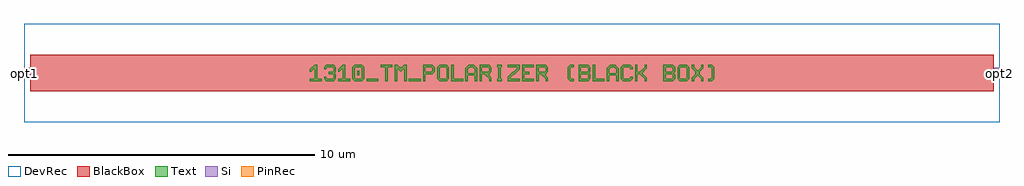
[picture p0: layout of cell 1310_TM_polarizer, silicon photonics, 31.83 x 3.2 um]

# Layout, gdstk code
import gdstk
lib = gdstk.Library(unit=1e-6, precision=1e-09)
def R(c, l, rs):  # rectangles x0, y0, x1, y1
    for r in rs: c.add(gdstk.rectangle(r[:2], r[2:], *l))
def P(c, l, *ps):  # polygons
    for p in ps: c.add(gdstk.Polygon(p, *l))
Si = (1, 0)
PinRec = (1, 10)
Text = (10, 0)
DevRec = (68, 0)
BlackBox = (998, 0)

text = lib.new_cell('TEXT')
R(text, Text, [(1.844,0,2.228,0.077), (3.227,0,3.611,0.077), (1.537,0.192,1.614,0.346)])
P(text, Text, [(0,0),(0,0.077),(0.154,0.077),(0.154,0.384),(0.115,0.384),(0.038,0.308),(0,0.308),(0,0.384),(0.154,0.538),(0.231,0.538),(0.231,0.077),(0.384,0.077),(0.384,0)],
  [(0.538,0),(0.461,0.077),(0.461,0.154),(0.538,0.154),(0.538,0.115),(0.576,0.077),(0.73,0.077),(0.769,0.115),(0.769,0.192),(0.73,0.231),(0.615,0.231),(0.615,0.308),(0.73,0.308),(0.769,0.346),(0.769,0.423),(0.73,0.461),(0.576,0.461),(0.538,0.423),(0.538,0.384),(0.461,0.384),(0.461,0.461),(0.538,0.538),(0.769,0.538),(0.845,0.461),(0.845,0.308),(0.807,0.269),(0.845,0.231),(0.845,0.077),(0.769,0)],
  [(0.922,0),(0.922,0.077),(1.076,0.077),(1.076,0.384),(1.037,0.384),(0.96,0.308),(0.922,0.308),(0.922,0.384),(1.076,0.538),(1.153,0.538),(1.153,0.077),(1.306,0.077),(1.306,0)],
  [(1.46,0),(1.383,0.077),(1.383,0.461),(1.46,0.538),(1.691,0.538),(1.767,0.461),(1.498,0.461),(1.46,0.423),(1.46,0.115),(1.498,0.077),(1.652,0.077),(1.691,0.115),(1.691,0.423),(1.652,0.461),(1.767,0.461),(1.767,0.077),(1.691,0)],
  [(2.459,0),(2.459,0.461),(2.305,0.461),(2.305,0.538),(2.689,0.538),(2.689,0.461),(2.536,0.461),(2.536,0)],
  [(2.766,0),(2.766,0.538),(2.843,0.538),(2.92,0.461),(2.997,0.461),(3.074,0.538),(3.15,0.538),(3.15,0),(3.074,0),(3.074,0.384),(3.035,0.384),(2.958,0.308),(2.881,0.384),(2.843,0.384),(2.843,0)],
  [(3.688,0),(3.688,0.538),(3.996,0.538),(4.072,0.461),(4.072,0.308),(3.996,0.231),(3.765,0.231),(3.765,0.308),(3.957,0.308),(3.996,0.346),(3.996,0.423),(3.957,0.461),(3.765,0.461),(3.765,0)],
  [(4.226,0),(4.149,0.077),(4.149,0.461),(4.226,0.538),(4.457,0.538),(4.533,0.461),(4.533,0.269),(4.457,0.269),(4.457,0.423),(4.418,0.461),(4.264,0.461),(4.226,0.423),(4.226,0.115),(4.264,0.077),(4.418,0.077),(4.457,0.115),(4.457,0.269),(4.533,0.269),(4.533,0.077),(4.457,0)],
  [(4.61,0),(4.61,0.538),(4.687,0.538),(4.687,0.077),(4.994,0.077),(4.994,0)],
  [(5.071,0),(5.071,0.423),(5.186,0.538),(5.34,0.538),(5.417,0.461),(5.225,0.461),(5.148,0.384),(5.148,0.269),(5.379,0.269),(5.379,0.384),(5.302,0.461),(5.417,0.461),(5.455,0.423),(5.455,0),(5.379,0),(5.379,0.192),(5.148,0.192),(5.148,0)],
  [(5.532,0),(5.532,0.538),(5.84,0.538),(5.916,0.461),(5.609,0.461),(5.609,0.308),(5.801,0.308),(5.84,0.346),(5.84,0.423),(5.801,0.461),(5.916,0.461),(5.916,0.308),(5.84,0.231),(5.84,0.192),(5.916,0.115),(5.916,0),(5.84,0),(5.84,0.077),(5.686,0.231),(5.609,0.231),(5.609,0)],
  [(6.108,0),(6.108,0.077),(6.147,0.077),(6.147,0.461),(6.108,0.461),(6.108,0.538),(6.262,0.538),(6.262,0.461),(6.224,0.461),(6.224,0.077),(6.262,0.077),(6.262,0)],
  [(6.454,0),(6.454,0.154),(6.608,0.308),(6.646,0.308),(6.762,0.423),(6.762,0.461),(6.454,0.461),(6.454,0.538),(6.838,0.538),(6.838,0.384),(6.685,0.231),(6.646,0.231),(6.531,0.115),(6.531,0.077),(6.838,0.077),(6.838,0)],
  [(6.915,0),(6.915,0.538),(7.299,0.538),(7.299,0.461),(6.992,0.461),(6.992,0.308),(7.146,0.308),(7.146,0.231),(6.992,0.231),(6.992,0.077),(7.299,0.077),(7.299,0)],
  [(7.376,0),(7.376,0.538),(7.684,0.538),(7.76,0.461),(7.453,0.461),(7.453,0.308),(7.645,0.308),(7.684,0.346),(7.684,0.423),(7.645,0.461),(7.76,0.461),(7.76,0.308),(7.684,0.231),(7.684,0.192),(7.76,0.115),(7.76,0),(7.684,0),(7.684,0.077),(7.53,0.231),(7.453,0.231),(7.453,0)],
  [(8.49,0),(8.413,0.077),(8.413,0.461),(8.49,0.538),(8.606,0.538),(8.606,0.461),(8.529,0.461),(8.49,0.423),(8.49,0.115),(8.529,0.077),(8.606,0.077),(8.606,0)],
  [(8.759,0),(8.759,0.538),(9.067,0.538),(9.143,0.461),(8.836,0.461),(8.836,0.308),(9.028,0.308),(9.067,0.346),(9.067,0.423),(9.028,0.461),(9.143,0.461),(9.143,0.308),(9.105,0.269),(9.143,0.231),(8.836,0.231),(8.836,0.077),(9.028,0.077),(9.067,0.115),(9.067,0.192),(9.028,0.231),(9.143,0.231),(9.143,0.077),(9.067,0)],
  [(9.22,0),(9.22,0.538),(9.297,0.538),(9.297,0.077),(9.604,0.077),(9.604,0)],
  [(9.681,0),(9.681,0.423),(9.796,0.538),(9.95,0.538),(10.027,0.461),(9.835,0.461),(9.758,0.384),(9.758,0.269),(9.989,0.269),(9.989,0.384),(9.912,0.461),(10.027,0.461),(10.065,0.423),(10.065,0),(9.989,0),(9.989,0.192),(9.758,0.192),(9.758,0)],
  [(10.219,0),(10.142,0.077),(10.142,0.461),(10.219,0.538),(10.45,0.538),(10.526,0.461),(10.526,0.384),(10.45,0.384),(10.45,0.423),(10.411,0.461),(10.257,0.461),(10.219,0.423),(10.219,0.115),(10.257,0.077),(10.411,0.077),(10.45,0.115),(10.45,0.154),(10.526,0.154),(10.526,0.077),(10.45,0)],
  [(10.603,0),(10.603,0.538),(10.68,0.538),(10.68,0.308),(10.757,0.308),(10.911,0.461),(10.911,0.538),(10.987,0.538),(10.987,0.423),(10.834,0.269),(10.987,0.115),(10.987,0),(10.911,0),(10.911,0.077),(10.757,0.231),(10.68,0.231),(10.68,0)],
  [(11.525,0),(11.525,0.538),(11.833,0.538),(11.909,0.461),(11.602,0.461),(11.602,0.308),(11.794,0.308),(11.833,0.346),(11.833,0.423),(11.794,0.461),(11.909,0.461),(11.909,0.308),(11.871,0.269),(11.909,0.231),(11.602,0.231),(11.602,0.077),(11.794,0.077),(11.833,0.115),(11.833,0.192),(11.794,0.231),(11.909,0.231),(11.909,0.077),(11.833,0)],
  [(12.063,0),(11.986,0.077),(11.986,0.461),(12.063,0.538),(12.294,0.538),(12.37,0.461),(12.37,0.269),(12.294,0.269),(12.294,0.423),(12.255,0.461),(12.101,0.461),(12.063,0.423),(12.063,0.115),(12.101,0.077),(12.255,0.077),(12.294,0.115),(12.294,0.269),(12.37,0.269),(12.37,0.077),(12.294,0)],
  [(12.447,0),(12.447,0.115),(12.562,0.231),(12.562,0.308),(12.447,0.423),(12.447,0.538),(12.524,0.538),(12.524,0.461),(12.639,0.346),(12.755,0.461),(12.755,0.538),(12.831,0.538),(12.831,0.423),(12.716,0.308),(12.716,0.231),(12.831,0.115),(12.831,0),(12.755,0),(12.755,0.077),(12.639,0.192),(12.524,0.077),(12.524,0)],
  [(12.985,0),(12.985,0.077),(13.062,0.077),(13.1,0.115),(13.1,0.423),(13.062,0.461),(12.985,0.461),(12.985,0.538),(13.1,0.538),(13.177,0.461),(13.177,0.077),(13.1,0)])

c_1310_tm_polarizer = lib.new_cell('1310_TM_polarizer')
R(c_1310_tm_polarizer, Si, [(-10,-0.175,-9.8,0.175), (21.607,-0.175,21.807,0.175)])
R(c_1310_tm_polarizer, DevRec, [(-10,-1.598,21.807,1.598)])
R(c_1310_tm_polarizer, BlackBox, [(-9.8,-0.598,21.607,0.598)])
c_1310_tm_polarizer.add(gdstk.FlexPath([(-9.99,0),(-10.01,0)], 0.35, ends="flush", simple_path=True, layer=1, datatype=10))  # PinRec
c_1310_tm_polarizer.add(gdstk.FlexPath([(21.797,0),(21.817,0)], 0.35, ends="flush", simple_path=True, layer=1, datatype=10))  # PinRec
c_1310_tm_polarizer.add(gdstk.Reference(text, (-0.685,-0.269)))
c_1310_tm_polarizer.add(gdstk.Label('opt1', (-10,0), layer=1, texttype=10))
c_1310_tm_polarizer.add(gdstk.Label('opt2', (21.807,0), layer=1, texttype=10))
c_1310_tm_polarizer.add(gdstk.Label('Out', (21.357,0), layer=10, texttype=0))
c_1310_tm_polarizer.add(gdstk.Label('In', (-9.55,0), layer=10, texttype=0))

lib.write_gds('1310_TM_polarizer.gds')
